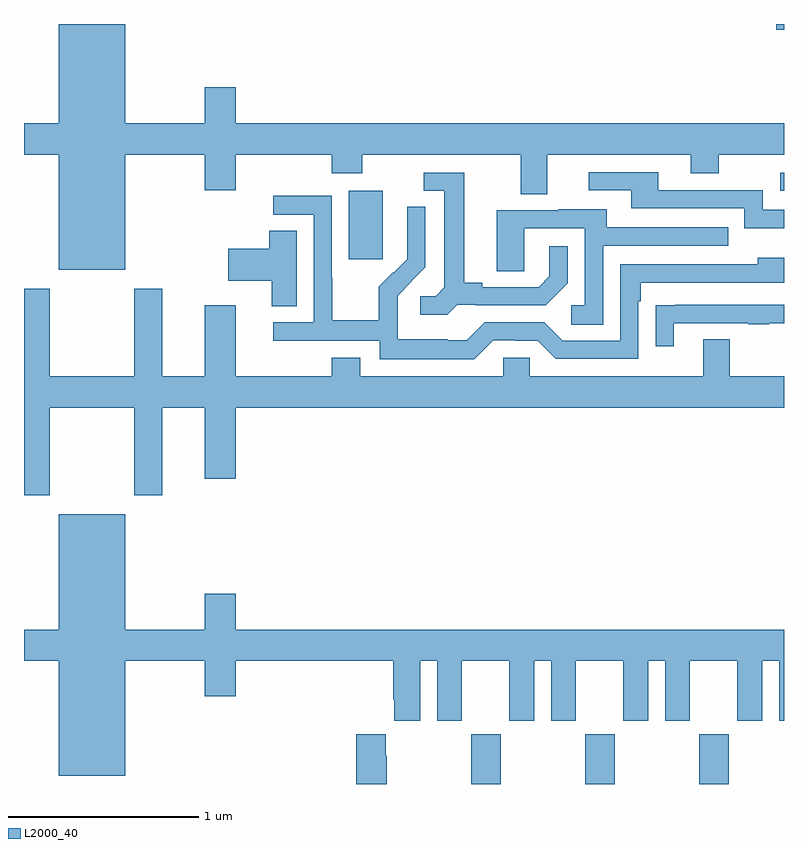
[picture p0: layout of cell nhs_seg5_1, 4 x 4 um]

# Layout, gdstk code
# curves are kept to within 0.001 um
import gdstk
lib = gdstk.Library(unit=1e-6, precision=1e-09)
def R(c, l, rs):  # rectangles x0, y0, x1, y1
    for r in rs: c.add(gdstk.rectangle(r[:2], r[2:], *l))
def A(c, l, x, y, w, h, nx, ny, dx, dy):  # array of equal rectangles
    R(c, l, [(x+i*dx, y+j*dy, x+i*dx+w, y+j*dy+h) for i in range(nx) for j in range(ny)])
def P(c, l, *ps):  # polygons
    for p in ps: c.add(gdstk.Polygon(p, *l))
L2000_40 = (2000, 40)

nhs_seg5_1 = lib.new_cell('nhs_seg5_1')
A(nhs_seg5_1, L2000_40, 113.353, 834.799, 0.155, 0.261, 3, 1, 0.6, 0)
R(nhs_seg5_1, L2000_40, [(112.709,837.561,112.888,837.922), (114.981,837.921,115,838.017), (114.96,838.769,115,838.799)])
P(nhs_seg5_1, L2000_40, [(111.532,838.112),(111.95,838.112),(111.95,837.924),(112.114,837.924),(112.114,838.112),(112.619,838.112),(112.619,838.013),(112.779,838.013),(112.779,838.112),(113.615,838.112),(113.615,837.904),(113.755,837.904),(113.755,838.112),(114.509,838.112),(114.509,838.013),(114.657,838.013),(114.657,838.112),(115,838.112),(115,838.276),(112.114,838.276),(112.114,838.465),(111.95,838.465),(111.95,838.276),(111.532,838.276),(111.532,838.799),(111.182,838.799),(111.182,838.276),(111,838.276),(111,838.112),(111.182,838.112),(111.182,837.506),(111.532,837.506)],
  [(115,837.822),(114.888,837.822),(114.888,837.924),(114.337,837.924),(114.337,838.02),(113.973,838.02),(113.973,837.924),(114.197,837.924),(114.197,837.828),(114.792,837.828),(114.792,837.725),(115,837.725)],
  [(113.28,837.321),(113.374,837.321),(113.374,837.318),(113.746,837.318),(113.862,837.434),(113.862,837.628),(113.765,837.628),(113.765,837.471),(113.708,837.414),(113.413,837.414),(113.413,837.437),(113.317,837.437),(113.317,838.017),(113.103,838.017),(113.103,837.921),(113.213,837.921),(113.213,837.413),(113.166,837.366),(113.085,837.366),(113.085,837.269),(113.228,837.269)],
  [(113.469,837.135),(113.585,837.135),(113.585,837.132),(113.703,837.132),(113.799,837.036),(114.234,837.036),(114.234,837.341),(114.247,837.341),(114.247,837.438),(115,837.438),(115,837.568),(114.863,837.568),(114.863,837.534),(114.138,837.534),(114.138,837.132),(113.835,837.132),(113.739,837.228),(113.424,837.228),(113.331,837.135),(113.231,837.135),(113.231,837.139),(112.968,837.139),(112.968,837.273),(112.966,837.273),(112.966,837.37),(113.112,837.518),(113.112,837.836),(113.016,837.836),(113.016,837.682),(113.018,837.682),(113.018,837.56),(112.947,837.489),(112.944,837.492),(112.867,837.415),(112.867,837.241),(112.623,837.241),(112.623,837.464),(112.62,837.464),(112.62,837.894),(112.311,837.894),(112.311,837.795),(112.524,837.795),(112.524,837.228),(112.311,837.228),(112.311,837.132),(112.872,837.132),(112.872,837.035),(113.369,837.035)],
  [(114.048,837.633),(114.707,837.633),(114.707,837.729),(114.067,837.729),(114.067,837.823),(113.813,837.823),(113.813,837.819),(113.489,837.819),(113.489,837.499),(113.634,837.499),(113.634,837.723),(113.952,837.723),(113.952,837.318),(113.88,837.318),(113.88,837.217),(114.048,837.217)],
  [(112.435,837.71),(112.292,837.71),(112.292,837.615),(112.074,837.615),(112.074,837.449),(112.304,837.449),(112.304,837.313),(112.435,837.313)],
  [(111.135,836.78),(111.58,836.78),(111.58,836.319),(111.727,836.319),(111.727,836.78),(111.95,836.78),(111.95,836.406),(112.114,836.406),(112.114,836.78),(115,836.78),(115,836.944),(114.715,836.944),(114.715,837.139),(114.575,837.139),(114.575,836.944),(113.661,836.944),(113.661,837.042),(113.523,837.042),(113.523,836.944),(112.771,836.944),(112.771,837.043),(112.619,837.043),(112.619,836.944),(112.114,836.944),(112.114,837.319),(111.95,837.319),(111.95,836.944),(111.727,836.944),(111.727,837.406),(111.58,837.406),(111.58,836.944),(111.135,836.944),(111.135,837.406),(111,837.406),(111,836.319),(111.135,836.319)],
  [(114.421,837.225),(114.811,837.225),(114.811,837.22),(114.923,837.22),(114.923,837.225),(115,837.225),(115,837.321),(114.427,837.321),(114.427,837.32),(114.325,837.32),(114.325,837.102),(114.421,837.102)],
  [(111.532,835.448),(111.95,835.448),(111.95,835.26),(112.114,835.26),(112.114,835.448),(112.943,835.448),(112.943,835.243),(112.949,835.243),(112.949,835.131),(113.086,835.131),(113.086,835.448),(113.174,835.448),(113.174,835.131),(113.305,835.131),(113.305,835.448),(113.555,835.448),(113.555,835.131),(113.686,835.131),(113.686,835.448),(113.774,835.448),(113.774,835.131),(113.905,835.131),(113.905,835.448),(114.155,835.448),(114.155,835.131),(114.286,835.131),(114.286,835.448),(114.374,835.448),(114.374,835.131),(114.505,835.131),(114.505,835.448),(114.755,835.448),(114.755,835.131),(114.886,835.131),(114.886,835.448),(114.974,835.448),(114.974,835.131),(115,835.131),(115,835.612),(112.114,835.612),(112.114,835.801),(111.95,835.801),(111.95,835.612),(111.532,835.612),(111.532,836.218),(111.182,836.218),(111.182,835.612),(111,835.612),(111,835.448),(111.182,835.448),(111.182,834.842),(111.532,834.842)],
  [(112.908,834.947),(112.903,834.947),(112.903,835.06),(112.748,835.06),(112.748,834.799),(112.908,834.799)])

lib.write_gds('nhs_seg5_1.gds')
